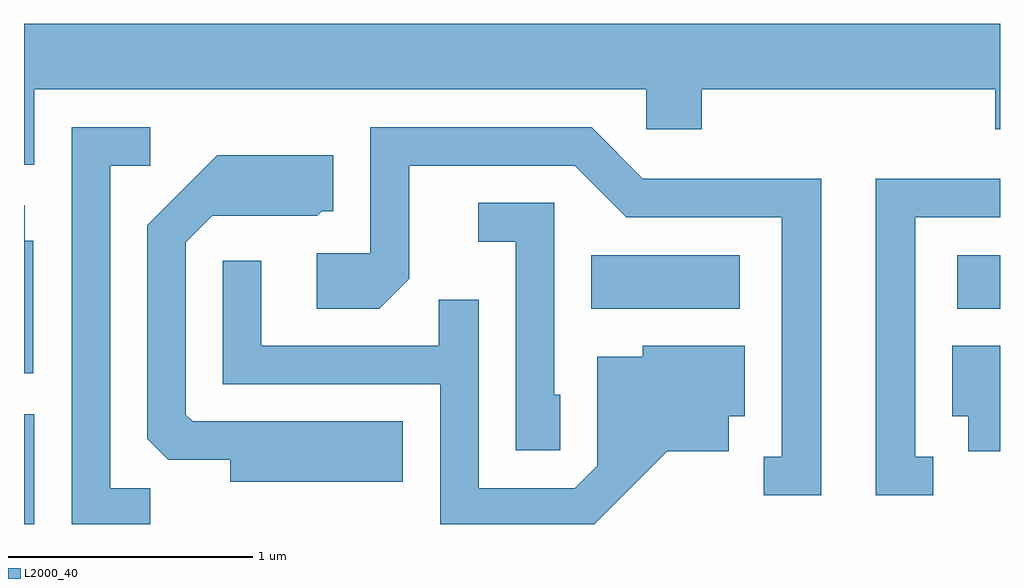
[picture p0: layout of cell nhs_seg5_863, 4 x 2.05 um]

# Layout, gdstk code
import gdstk
lib = gdstk.Library(unit=1e-6, precision=1e-09)
def R(c, l, rs):  # rectangles x0, y0, x1, y1
    for r in rs: c.add(gdstk.rectangle(r[:2], r[2:], *l))
def P(c, l, *ps):  # polygons
    for p in ps: c.add(gdstk.Polygon(p, *l))
L2000_40 = (2000, 40)

nhs_seg5_863 = lib.new_cell('nhs_seg5_863')
R(nhs_seg5_863, L2000_40, [(209.611,1506.072,209.654,1506.524), (211.936,1506.956,212.544,1507.174), (213.436,1506.956,213.611,1507.174)])
P(nhs_seg5_863, L2000_40, [(209.654,1507.856),(212.161,1507.856),(212.161,1507.691),(212.389,1507.691),(212.389,1507.856),(213.591,1507.856),(213.591,1507.691),(213.611,1507.691),(213.611,1508.124),(209.611,1508.124),(209.611,1507.546),(209.654,1507.546)],
  [(210.128,1506.219),(209.964,1506.219),(209.964,1507.541),(210.128,1507.541),(210.128,1507.699),(209.806,1507.699),(209.806,1506.072),(210.128,1506.072)],
  [(212.879,1507.489),(212.147,1507.489),(211.937,1507.699),(211.031,1507.699),(211.031,1507.184),(210.811,1507.184),(210.811,1506.956),(211.067,1506.956),(211.189,1507.079),(211.189,1507.541),(211.869,1507.541),(212.079,1507.331),(212.716,1507.331),(212.716,1506.349),(212.643,1506.349),(212.643,1506.191),(212.879,1506.191)],
  [(211.164,1506.494),(210.302,1506.494),(210.274,1506.522),(210.274,1507.229),(210.382,1507.336),(210.812,1507.336),(210.832,1507.356),(210.879,1507.356),(210.879,1507.584),(210.404,1507.584),(210.116,1507.297),(210.116,1506.422),(210.202,1506.336),(210.456,1506.336),(210.456,1506.246),(211.164,1506.246)],
  [(213.338,1506.349),(213.264,1506.349),(213.264,1507.331),(213.611,1507.331),(213.611,1507.489),(213.101,1507.489),(213.101,1506.191),(213.338,1506.191)],
  [(211.809,1506.604),(211.784,1506.604),(211.784,1507.389),(211.473,1507.389),(211.473,1507.231),(211.626,1507.231),(211.626,1506.376),(211.809,1506.376)],
  [(209.649,1507.234),(209.614,1507.234),(209.614,1507.379),(209.611,1507.379),(209.611,1506.691),(209.649,1506.691)],
  [(212.247,1506.371),(212.499,1506.371),(212.499,1506.516),(212.564,1506.516),(212.564,1506.804),(212.146,1506.804),(212.146,1506.759),(211.961,1506.759),(211.961,1506.312),(211.869,1506.219),(211.474,1506.219),(211.474,1506.993),(211.311,1506.993),(211.311,1506.804),(210.584,1506.804),(210.584,1507.153),(210.426,1507.153),(210.426,1506.646),(211.316,1506.646),(211.316,1506.072),(211.948,1506.072)],
  [(213.611,1506.804),(213.416,1506.804),(213.416,1506.516),(213.481,1506.516),(213.481,1506.371),(213.611,1506.371)])

lib.write_gds('nhs_seg5_863.gds')
